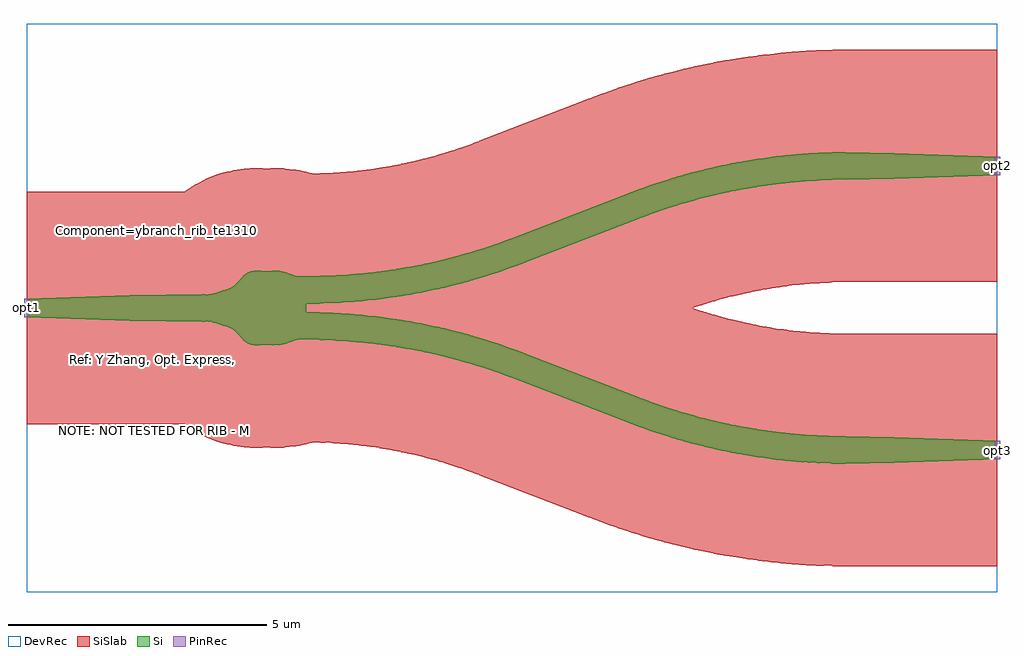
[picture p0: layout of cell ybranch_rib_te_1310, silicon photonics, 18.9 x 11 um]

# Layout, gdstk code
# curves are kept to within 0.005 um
import gdstk
lib = gdstk.Library(unit=1e-6, precision=1e-09)
def R(c, l, rs):  # rectangles x0, y0, x1, y1
    for r in rs: c.add(gdstk.rectangle(r[:2], r[2:], *l))
def P(c, l, *ps):  # polygons
    for p in ps: c.add(gdstk.Polygon(p, *l))
Si = (1, 0)
PinRec = (1, 10)
SiSlab = (2, 0)
DevRec = (68, 0)

ybranch_rib_te_1310 = lib.new_cell('ybranch_rib_te_1310')
P(ybranch_rib_te_1310, Si, [(2,-0.25),(0,-0.175),(0,0.175),(2,0.25)],
  [(16.8,2.5),(16.8,3),(18.8,2.925),(18.8,2.575)],
  [(16.8,-3),(16.8,-2.5),(18.8,-2.575),(18.8,-2.925)],
  [(15.858,-3.016),(15.465,-3.008),(15.117,-2.99),(14.805,-2.965),(14.422,-2.923),(14.051,-2.87),(13.654,-2.8),(13.271,-2.719),(12.879,-2.622),(12.317,-2.457),(11.806,-2.281),(9.449,-1.371),(9.026,-1.217),(8.633,-1.091),(8.273,-0.989),(7.864,-0.89),(7.571,-0.828),(7.154,-0.754),(6.721,-0.694),(6.274,-0.65),(5.799,-0.623),(5.277,-0.611),(5.198,-0.624),(4.997,-0.696),(4.91,-0.715),(4.408,-0.717),(4.304,-0.693),(4.233,-0.651),(4.045,-0.451),(3.951,-0.388),(3.859,-0.353),(3.565,-0.266),(2,-0.25),(2,0.25),(3.565,0.266),(3.859,0.353),(3.951,0.388),(4.045,0.451),(4.233,0.651),(4.304,0.693),(4.408,0.717),(4.91,0.715),(4.997,0.696),(5.198,0.624),(5.278,0.611),(5.769,0.622),(6.207,0.645),(6.606,0.681),(7.064,0.74),(7.488,0.812),(7.819,0.88),(8.204,0.971),(8.515,1.056),(8.882,1.169),(9.378,1.344),(11.885,2.31),(12.497,2.513),(12.838,2.611),(13.206,2.704),(13.654,2.8),(14.05,2.87),(14.512,2.934),(14.954,2.978),(15.346,3.003),(15.741,3.015),(16.8,3),(16.8,2.5),(15.53,2.478),(14.975,2.446),(14.596,2.408),(14.216,2.357),(13.568,2.239),(12.916,2.081),(12.274,1.883),(11.851,1.729),(9.437,0.798),(8.888,0.613),(8.421,0.478),(8.064,0.389),(7.646,0.3),(7.25,0.23),(6.878,0.177),(6.495,0.135),(6.152,0.108),(5.777,0.09),(5.416,0.084),(5.416,-0.084),(5.835,-0.092),(6.241,-0.114),(6.692,-0.155),(7.091,-0.206),(7.508,-0.274),(7.949,-0.363),(8.314,-0.45),(8.685,-0.552),(9.142,-0.695),(9.494,-0.819),(12.19,-1.854),(12.841,-2.06),(13.436,-2.21),(13.817,-2.289),(14.216,-2.357),(14.596,-2.408),(14.975,-2.446),(15.598,-2.48),(16.8,-2.5),(16.8,-3)])
P(ybranch_rib_te_1310, SiSlab, [(15.858,-5),(15.44,-4.993),(15.098,-4.977),(14.651,-4.944),(14.26,-4.903),(13.749,-4.831),(13.328,-4.758),(12.751,-4.635),(12.356,-4.536),(11.832,-4.385),(11.123,-4.144),(8.701,-3.209),(8.255,-3.051),(7.964,-2.962),(7.636,-2.874),(7.249,-2.786),(7,-2.739),(6.616,-2.68),(6.323,-2.646),(6.013,-2.62),(5.604,-2.602),(5.554,-2.602),(5.221,-2.675),(5.008,-2.701),(4.226,-2.699),(3.878,-2.635),(3.764,-2.605),(3.502,-2.51),(3.257,-2.382),(3.059,-2.25),(0,-2.25),(0,2.25),(3.059,2.25),(3.257,2.382),(3.502,2.51),(3.764,2.605),(3.878,2.635),(4.226,2.699),(5.008,2.701),(5.221,2.675),(5.554,2.602),(5.604,2.602),(6.044,2.622),(6.399,2.654),(6.781,2.704),(7.131,2.763),(7.494,2.84),(7.772,2.909),(8.167,3.023),(8.467,3.123),(10.987,4.093),(11.455,4.262),(11.917,4.411),(12.356,4.536),(12.936,4.677),(13.328,4.758),(13.853,4.847),(14.26,4.903),(14.651,4.944),(15.098,4.977),(15.487,4.994),(15.839,5),(18.8,5),(18.8,0.5),(15.856,0.5),(15.488,0.491),(15.15,0.47),(14.684,0.42),(14.335,0.367),(14.041,0.312),(13.684,0.231),(13.434,0.165),(12.901,0),(13.451,-0.17),(13.67,-0.228),(14.051,-0.314),(14.52,-0.397),(15.15,-0.47),(15.559,-0.494),(15.876,-0.5),(18.8,-0.5),(18.8,-5)])
R(ybranch_rib_te_1310, DevRec, [(0,-5.5,18.8,5.5)])
ybranch_rib_te_1310.add(gdstk.FlexPath([(18.75,2.75),(18.85,2.75)], 0.35, ends="flush", simple_path=True, layer=1, datatype=10))  # PinRec
ybranch_rib_te_1310.add(gdstk.FlexPath([(18.75,-2.75),(18.85,-2.75)], 0.35, ends="flush", simple_path=True, layer=1, datatype=10))  # PinRec
ybranch_rib_te_1310.add(gdstk.FlexPath([(0.05,0),(-0.05,0)], 0.35, ends="flush", simple_path=True, layer=1, datatype=10))  # PinRec
ybranch_rib_te_1310.add(gdstk.Label('Ref: Y Zhang, Opt. Express, 21/1, 2013', (2.47,-1), layer=10, texttype=0))
ybranch_rib_te_1310.add(gdstk.Label('NOTE: NOT TESTED FOR RIB - MAY BE LOSSY', (2.47,-2.37), layer=10, texttype=0))
ybranch_rib_te_1310.add(gdstk.Label('opt2', (18.8,2.75), layer=1, texttype=10))
ybranch_rib_te_1310.add(gdstk.Label('opt3', (18.8,-2.75), layer=1, texttype=10))
ybranch_rib_te_1310.add(gdstk.Label('opt1', (0,0), layer=1, texttype=10))
ybranch_rib_te_1310.add(gdstk.Label('Component=ybranch_rib_te1310', (2.51,1.5), layer=68, texttype=0))

lib.write_gds('ybranch_rib_te_1310.gds')
